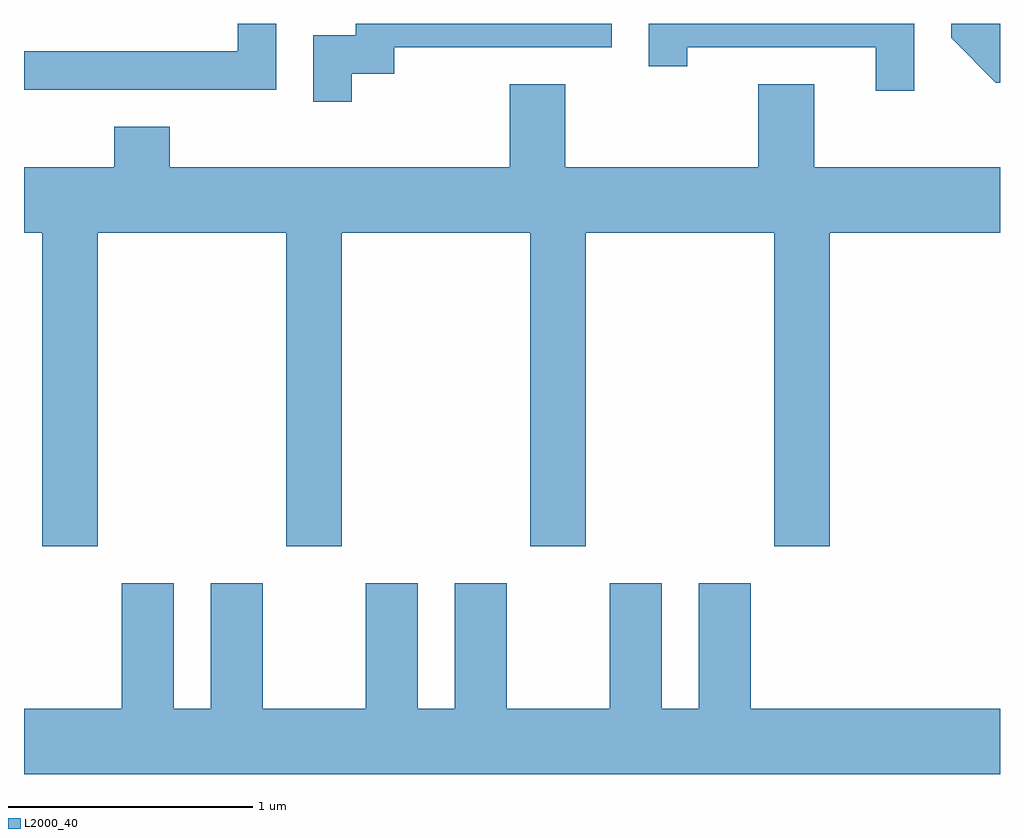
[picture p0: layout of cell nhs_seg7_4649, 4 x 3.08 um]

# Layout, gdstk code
import gdstk
lib = gdstk.Library(unit=1e-6, precision=1e-09)
def P(c, l, *ps):  # polygons
    for p in ps: c.add(gdstk.Polygon(p, *l))
L2000_40 = (2000, 40)

nhs_seg7_4649 = lib.new_cell('nhs_seg7_4649')
P(nhs_seg7_4649, L2000_40, [(331.259,1746.252),(330.171,1746.252),(330.171,1746.078),(330.329,1746.078),(330.329,1746.156),(331.101,1746.156),(331.101,1745.978),(331.259,1745.978)],
  [(328.644,1746.252),(328.486,1746.252),(328.486,1746.139),(327.611,1746.139),(327.611,1745.981),(328.644,1745.981)],
  [(328.954,1746.046),(329.129,1746.046),(329.129,1746.156),(330.019,1746.156),(330.019,1746.252),(328.971,1746.252),(328.971,1746.204),(328.796,1746.204),(328.796,1745.933),(328.954,1745.933)],
  [(331.611,1746.252),(331.411,1746.252),(331.411,1746.194),(331.594,1746.011),(331.611,1746.011)],
  [(327.914,1745.396),(328.686,1745.396),(328.686,1744.111),(328.914,1744.111),(328.914,1745.396),(329.686,1745.396),(329.686,1744.111),(329.914,1744.111),(329.914,1745.396),(330.686,1745.396),(330.686,1744.111),(330.914,1744.111),(330.914,1745.396),(331.611,1745.396),(331.611,1745.664),(330.849,1745.664),(330.849,1746.004),(330.621,1746.004),(330.621,1745.664),(329.829,1745.664),(329.829,1746.004),(329.601,1746.004),(329.601,1745.664),(328.209,1745.664),(328.209,1745.829),(327.981,1745.829),(327.981,1745.664),(327.611,1745.664),(327.611,1745.396),(327.686,1745.396),(327.686,1744.111),(327.914,1744.111)],
  [(331.611,1743.444),(330.589,1743.444),(330.589,1743.959),(330.376,1743.959),(330.376,1743.444),(330.224,1743.444),(330.224,1743.959),(330.011,1743.959),(330.011,1743.444),(329.589,1743.444),(329.589,1743.959),(329.376,1743.959),(329.376,1743.444),(329.224,1743.444),(329.224,1743.959),(329.011,1743.959),(329.011,1743.444),(328.589,1743.444),(328.589,1743.959),(328.376,1743.959),(328.376,1743.444),(328.224,1743.444),(328.224,1743.959),(328.011,1743.959),(328.011,1743.444),(327.611,1743.444),(327.611,1743.176),(331.611,1743.176)])

lib.write_gds('nhs_seg7_4649.gds')
